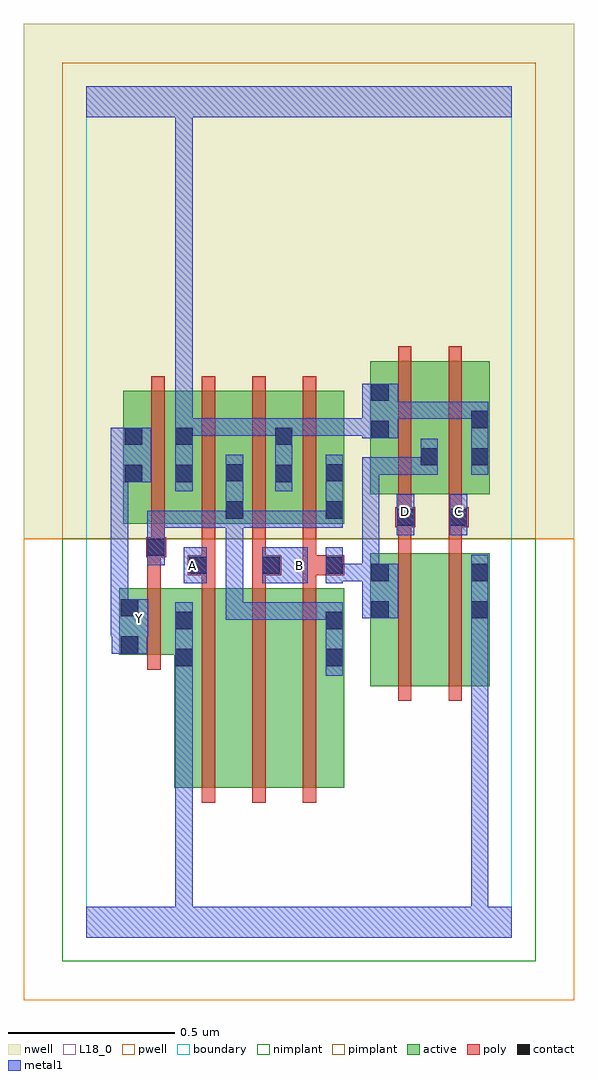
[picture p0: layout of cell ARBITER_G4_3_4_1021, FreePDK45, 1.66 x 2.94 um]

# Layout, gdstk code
import gdstk
lib = gdstk.Library(unit=1e-6, precision=1e-09)
def R(c, l, rs):  # rectangles x0, y0, x1, y1
    for r in rs: c.add(gdstk.rectangle(r[:2], r[2:], *l))
def A(c, l, x, y, w, h, nx, ny, dx, dy):  # array of equal rectangles
    R(c, l, [(x+i*dx, y+j*dy, x+i*dx+w, y+j*dy+h) for i in range(nx) for j in range(ny)])
active = (1, 0)
pwell = (2, 0)
nwell = (3, 0)
nimplant = (4, 0)
pimplant = (5, 0)
poly = (9, 0)
contact = (10, 0)
metal1 = (11, 0)
L18_0 = (18, 0)
boundary = (235, 0)

arbiter_g4_3_4_1021 = lib.new_cell('ARBITER_G4_3_4_1021')
R(arbiter_g4_3_4_1021, active, [(0.264,0.45,0.444,1.05), (0.444,0.45,0.596,1.05), (0.596,0.45,0.776,1.05), (0.716,0.556,0.776,1.05), (0.854,0.756,0.914,1.156), (0.854,0.756,1.034,1.156), (1.034,0.756,1.214,1.156), (1.154,0.756,1.214,1.156), (0.264,0.812,0.324,0.984), (0.1,0.85,0.324,1.05), (0.1,0.85,0.16,1.05), (0.112,1.244,0.172,1.644), (0.112,1.244,0.324,1.644), (0.264,1.244,0.476,1.644), (0.416,1.244,0.624,1.644), (0.564,1.244,0.776,1.644), (0.716,1.244,0.776,1.644), (0.416,1.256,0.476,1.644), (0.854,1.334,0.914,1.734), (0.854,1.334,1.062,1.734), (1.002,1.334,1.214,1.734), (1.154,1.334,1.214,1.644), (0.264,1.338,0.324,1.644), (0.564,1.338,0.624,1.644), (1.002,1.416,1.062,1.644)])
R(arbiter_g4_3_4_1021, pwell, [(-0.188,-0.188,1.468,1.2)])
R(arbiter_g4_3_4_1021, nwell, [(-0.188,1.2,1.468,2.748)])
R(arbiter_g4_3_4_1021, nimplant, [(-0.072,-0.072,1.352,1.2)])
R(arbiter_g4_3_4_1021, pimplant, [(-0.072,1.2,1.352,2.632)])
A(arbiter_g4_3_4_1021, poly, 0.348, 0.406, 0.04, 0.688, 3, 1, 0.152, 0)
A(arbiter_g4_3_4_1021, poly, 0.348, 1.054, 0.04, 0.076, 3, 1, 0.152, 0)
A(arbiter_g4_3_4_1021, poly, 0.348, 1.11, 0.04, 0.13, 3, 1, 0.152, 0)
A(arbiter_g4_3_4_1021, poly, 0.196, 1.2, 0.04, 0.488, 4, 1, 0.152, 0)
R(arbiter_g4_3_4_1021, poly, [(0.938,0.712,0.978,1.2), (1.09,0.712,1.13,1.2), (0.184,0.806,0.224,1.094), (0.184,1.054,0.224,1.184), (0.306,1.09,0.388,1.15), (0.5,1.09,0.54,1.13), (0.5,1.09,0.54,1.13), (0.5,1.09,0.586,1.15), (0.652,1.09,0.776,1.15), (0.348,1.11,0.388,1.15), (0.348,1.11,0.388,1.15), (0.652,1.11,0.692,1.15), (0.652,1.11,0.692,1.15), (0.18,1.144,0.24,1.204), (0.184,1.144,0.224,1.184), (0.184,1.144,0.224,1.184), (0.938,1.16,0.978,1.274), (1.09,1.16,1.13,1.274), (0.196,1.164,0.236,1.24), (0.93,1.234,0.99,1.294), (1.09,1.234,1.15,1.294), (0.938,1.254,0.978,1.33), (0.938,1.254,0.978,1.294), (0.938,1.254,0.978,1.294), (1.09,1.254,1.13,1.33), (1.09,1.254,1.13,1.294), (1.09,1.254,1.13,1.294), (0.938,1.29,0.978,1.778), (1.09,1.29,1.13,1.778)])
A(arbiter_g4_3_4_1021, contact, 0.72, 0.928, 0.052, 0.052, 1, 3, 0, 0.166)
R(arbiter_g4_3_4_1021, contact, [(0.268,0.816,0.32,0.868), (0.72,0.816,0.772,0.868), (0.104,0.854,0.156,0.906), (0.268,0.928,0.32,0.98), (0.858,0.96,0.91,1.012), (1.158,0.96,1.21,1.012), (0.104,0.966,0.156,1.018), (0.858,1.072,0.91,1.124), (1.158,1.072,1.21,1.124), (0.31,1.094,0.362,1.146), (0.53,1.094,0.582,1.146), (0.184,1.148,0.236,1.2), (0.934,1.238,0.986,1.29), (1.094,1.238,1.146,1.29), (0.42,1.26,0.472,1.312), (0.116,1.37,0.168,1.422), (0.268,1.37,0.32,1.422), (0.568,1.37,0.62,1.422), (0.42,1.372,0.472,1.424), (0.72,1.372,0.772,1.424), (1.006,1.42,1.058,1.472), (1.158,1.42,1.21,1.472), (0.116,1.482,0.168,1.534), (0.268,1.482,0.32,1.534), (0.568,1.482,0.62,1.534), (0.858,1.502,0.91,1.554), (1.158,1.532,1.21,1.584), (0.858,1.614,0.91,1.666)])
R(arbiter_g4_3_4_1021, metal1, [(0,0,1.28,0.092), (0.268,0.04,0.32,0.092), (0.268,0.04,0.32,0.092), (0.268,0.04,0.32,0.092), (0.268,0.04,0.32,0.092), (0.268,0.04,0.32,0.092), (0.268,0.04,0.32,0.092), (0.268,0.04,0.32,0.84), (1.158,0.04,1.21,0.092), (1.158,0.04,1.21,0.092), (1.158,0.04,1.21,0.984), (0.268,0.788,0.32,0.84), (0.268,0.788,0.32,0.84), (0.268,0.788,0.32,1.008), (0.72,0.788,0.772,1.008), (0.076,0.854,0.184,1.018), (0.074,0.906,0.186,1.018), (1.158,0.932,1.21,0.984), (1.158,0.932,1.21,0.984), (1.158,0.932,1.21,0.984), (1.158,0.932,1.21,0.984), (1.158,0.932,1.21,0.984), (1.158,0.932,1.21,0.984), (1.158,0.932,1.21,0.984), (1.158,0.932,1.21,0.984), (1.158,0.932,1.21,0.984), (1.158,0.932,1.21,0.984), (1.158,0.932,1.21,1.152), (0.42,0.956,0.472,1.008), (0.42,0.956,0.582,1.008), (0.42,0.956,0.472,1.284), (0.53,0.956,0.582,1.008), (0.53,0.956,0.582,1.008), (0.53,0.956,0.582,1.008), (0.53,0.956,0.772,1.008), (0.72,0.956,0.772,1.008), (0.72,0.956,0.772,1.008), (0.83,0.96,0.938,1.124), (0.074,0.966,0.126,1.422), (0.104,0.966,0.156,1.018), (0.294,1.066,0.362,1.174), (0.53,1.066,0.666,1.174), (0.72,1.066,0.772,1.174), (0.72,1.072,0.828,1.124), (0.776,1.072,0.828,1.124), (0.776,1.072,0.882,1.124), (0.83,1.072,0.882,1.124), (0.83,1.072,0.882,1.124), (0.83,1.072,0.882,1.444), (0.184,1.12,0.236,1.228), (0.184,1.176,0.236,1.228), (0.184,1.176,0.236,1.284), (0.934,1.21,0.986,1.334), (1.094,1.21,1.146,1.334), (0.184,1.232,0.472,1.284), (0.42,1.232,0.472,1.284), (0.42,1.232,0.472,1.284), (0.42,1.232,0.472,1.284), (0.42,1.232,0.472,1.284), (0.42,1.232,0.472,1.284), (0.42,1.232,0.472,1.284), (0.42,1.232,0.472,1.452), (0.42,1.232,0.582,1.284), (0.53,1.232,0.582,1.284), (0.53,1.232,0.582,1.284), (0.53,1.232,0.582,1.284), (0.53,1.232,0.772,1.284), (0.72,1.232,0.772,1.284), (0.72,1.232,0.772,1.284), (0.72,1.232,0.772,1.452), (0.268,1.342,0.32,1.562), (0.568,1.342,0.62,1.562), (0.074,1.37,0.126,1.422), (0.074,1.37,0.126,1.422), (0.074,1.37,0.196,1.534), (0.83,1.392,0.882,1.444), (0.83,1.392,0.882,1.444), (0.83,1.392,0.882,1.444), (0.83,1.392,1.036,1.444), (0.984,1.392,1.036,1.444), (0.984,1.392,1.058,1.444), (1.006,1.392,1.058,1.5), (1.158,1.392,1.21,1.612), (0.83,1.502,0.938,1.666), (0.268,1.51,0.43,1.562), (0.268,1.51,0.32,2.52), (0.378,1.51,0.43,1.562), (0.378,1.51,0.43,1.562), (0.378,1.51,0.43,1.562), (0.378,1.51,0.608,1.562), (0.556,1.51,0.608,1.562), (0.556,1.51,0.62,1.562), (0.568,1.51,0.718,1.562), (0.666,1.51,0.718,1.562), (0.666,1.51,0.73,1.562), (0.678,1.51,0.73,1.562), (0.678,1.51,0.882,1.562), (0.886,1.56,0.938,1.612), (0.886,1.56,0.938,1.612), (0.886,1.56,1.048,1.612), (0.996,1.56,1.048,1.612), (0.996,1.56,1.21,1.612), (1.158,1.56,1.21,1.612), (1.158,1.56,1.21,1.612), (0,2.468,1.28,2.56), (0.268,2.468,0.32,2.52), (0.268,2.468,0.32,2.52), (0.268,2.468,0.32,2.52), (0.268,2.468,0.32,2.52), (0.268,2.468,0.32,2.52), (0.268,2.468,0.32,2.52), (0.268,2.468,0.32,2.52), (0.268,2.468,0.32,2.52), (0.268,2.468,0.32,2.52), (0.268,2.468,0.32,2.52), (0.268,2.468,0.32,2.52), (0.268,2.468,0.32,2.52), (0.268,2.468,0.32,2.52), (0.268,2.468,0.32,2.52), (0.268,2.468,0.32,2.52), (0.268,2.468,0.32,2.52)])
R(arbiter_g4_3_4_1021, L18_0, [(0,0,1.28,0.092), (0.268,0.04,0.32,0.092), (0.268,0.04,0.32,0.092), (0.268,0.04,0.32,0.092), (0.268,0.04,0.32,0.092), (0.268,0.04,0.32,0.092), (0.268,0.04,0.32,0.092), (0.268,0.04,0.32,0.84), (1.158,0.04,1.21,0.092), (1.158,0.04,1.21,0.092), (1.158,0.04,1.21,0.984), (0.268,0.788,0.32,0.84), (0.268,0.788,0.32,0.84), (0.268,0.788,0.32,1.008), (0.076,0.854,0.184,1.018), (0.074,0.906,0.186,1.018), (1.158,0.932,1.21,0.984), (1.158,0.932,1.21,0.984), (1.158,0.932,1.21,0.984), (1.158,0.932,1.21,0.984), (1.158,0.932,1.21,0.984), (1.158,0.932,1.21,0.984), (1.158,0.932,1.21,0.984), (1.158,0.932,1.21,0.984), (1.158,0.932,1.21,0.984), (1.158,0.932,1.21,0.984), (1.158,0.932,1.21,1.152), (0.134,0.934,0.186,0.986), (0.074,0.966,0.126,1.422), (0.104,0.966,0.156,1.018), (0.294,1.066,0.362,1.174), (0.53,1.066,0.666,1.174), (0.294,1.094,0.346,1.146), (0.614,1.094,0.666,1.146), (0.934,1.21,0.986,1.334), (1.094,1.21,1.146,1.334), (0.934,1.254,0.986,1.306), (1.094,1.254,1.146,1.306), (0.268,1.342,0.32,1.562), (0.568,1.342,0.62,1.562), (0.074,1.37,0.126,1.422), (0.074,1.37,0.126,1.422), (0.074,1.37,0.196,1.534), (1.158,1.392,1.21,1.612), (0.83,1.502,0.938,1.666), (0.268,1.51,0.32,2.52), (0.268,1.51,0.43,1.562), (0.378,1.51,0.43,1.562), (0.378,1.51,0.43,1.562), (0.378,1.51,0.43,1.562), (0.378,1.51,0.608,1.562), (0.556,1.51,0.608,1.562), (0.556,1.51,0.62,1.562), (0.568,1.51,0.718,1.562), (0.666,1.51,0.718,1.562), (0.666,1.51,0.73,1.562), (0.678,1.51,0.73,1.562), (0.678,1.51,0.882,1.562), (0.886,1.56,0.938,1.612), (0.886,1.56,0.938,1.612), (0.886,1.56,1.048,1.612), (0.996,1.56,1.048,1.612), (0.996,1.56,1.21,1.612), (1.158,1.56,1.21,1.612), (1.158,1.56,1.21,1.612), (0,2.468,1.28,2.56), (0.268,2.468,0.32,2.52), (0.268,2.468,0.32,2.52), (0.268,2.468,0.32,2.52), (0.268,2.468,0.32,2.52), (0.268,2.468,0.32,2.52), (0.268,2.468,0.32,2.52), (0.268,2.468,0.32,2.52), (0.268,2.468,0.32,2.52), (0.268,2.468,0.32,2.52), (0.268,2.468,0.32,2.52), (0.268,2.468,0.32,2.52), (0.268,2.468,0.32,2.52), (0.268,2.468,0.32,2.52), (0.268,2.468,0.32,2.52), (0.268,2.468,0.32,2.52), (0.268,2.468,0.32,2.52)])
R(arbiter_g4_3_4_1021, boundary, [(0,0,1.28,2.56)])
arbiter_g4_3_4_1021.add(gdstk.Label('A', (0.32,1.12), layer=11, texttype=0))
arbiter_g4_3_4_1021.add(gdstk.Label('B', (0.64,1.12), layer=11, texttype=0))
arbiter_g4_3_4_1021.add(gdstk.Label('C', (1.12,1.28), layer=11, texttype=0))
arbiter_g4_3_4_1021.add(gdstk.Label('D', (0.96,1.28), layer=11, texttype=0))
arbiter_g4_3_4_1021.add(gdstk.Label('Y', (0.16,0.96), layer=11, texttype=0))

lib.write_gds('ARBITER_G4_3_4_1021.gds')
